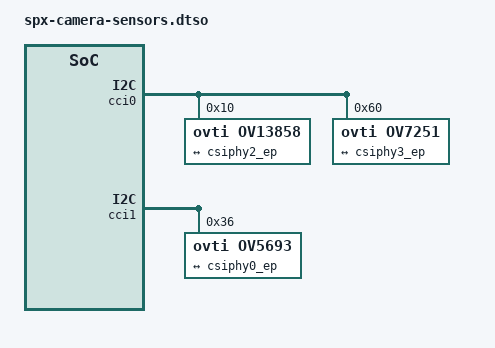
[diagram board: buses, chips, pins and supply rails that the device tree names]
// SPDX-License-Identifier: GPL-2.0
/*
 * Surface Pro X (sc8180x) camera: CCI buses + sensor nodes.
 * STAGED — NOT APPLIED. Companion to spx-camss.dtso.
 *
 * Everything below is reverse-engineered from the SPX DSDT and the Windows
 * camera drivers (2026-08-04); see memory/spx-camera-bringup.md.
 *
 * CCI addressing: ACPI CAMP._CRS lists 0x0ac4a000/b000/c000/d000 (0x1000 each)
 * plus 4 interrupts GSIV 0x1ec/0x12f/0x2ab/0x2aa -> SPI 460/271/651/650.
 * That block layout is identical to sc8280xp.dtsi, and cci0's SPI 460 matches
 * sm8250 exactly. camcc-sc8180x provides CAM_CC_CCI_0..3_CLK.
 *
 * Sensor placement comes from the ACPI CAMP.PCFG method, which returns
 * {0x07, 0x00200000, 0x00010010, 0x01300011, 0,...}: element 0 is a presence
 * bitmask (all three present), elements 1..3 are one packed word per camera ID
 * (rear=0, front=1, aux=2). qccamplatform8180.sys decodes
 *   CCI master = (w >> 16) & 0xf      CSIPHY id = (w >> 20) & 0xf
 * and hands the result to each sensor driver over IOCTL 0x232083, where they
 * surface as the logged "I2cMasterIndex" and "PhyId"/"CamIfPort".
 *
 *   rear  OV13858 @0x10  CCI0 port0  CSIPHY2
 *   front OV5693  @0x36  CCI1 port0  CSIPHY0
 *   aux   OV7251  @0x60  CCI0 port1  CSIPHY3
 *
 * I2C addresses and chip IDs cross-check against ACPI CAMS/CAMF/CAMI SCFG and
 * against the Chromatix sensor-module blobs. Bus speed is 400 kHz, from
 * SCFG acpiMethodValues[0] bits[17:16] == 1.
 *
 * !!! OPEN — the one thing the RE could not recover !!!
 * The sensor supply rails and reset/standby lines are NOT visible to the OS.
 * CAMP._CRS carries the only two camera GPIOs in the whole DSDT (TLMM 11 and
 * 25) and those are the privacy/IR LEDs, not sensor power. The Chromatix blobs
 * give the *shape* of the sequence but only abstract types:
 *
 *   rear  : RESET=0 d1, REG1 d1, REG2 d1, REG3 d1, MCLK 24MHz d10, RESET=1 d30
 *           (power-down also drops a REG4 = the AF/VCM rail)
 *   front : REG3, REG1, REG2, MCLK 24MHz d1, STANDBY=0, RESET=0, STANDBY=1, RESET=1
 *   aux   : RESET=0 d1, REG1 d1, REG2 d1, REG3 d0, MCLK 24MHz d1, RESET=1 d18
 *
 * Windows executes these through the PEP/firmware power engine (CAMP._PS0/_PS3
 * -> \_SB.PEP0.FLD0), so no APPS-side rail or pin mapping exists to extract.
 * The *-supply and reset-gpios properties below are therefore deliberately
 * absent: they need a schematic, a board teardown, or PMIC probing. Sensor
 * probe WILL fail until they are filled in.
 *
 * Also NOT reverse-engineered, and assumed here — fix before trusting:
 *  - the MCLK index per sensor (MCLK0/1/3 below is a guess; only the 24 MHz
 *    rate is RE-derived). The Windows blob does not name an MCLK instance.
 *  - data-lanes. laneAssign/isComboMode decode to 0 in all three blobs, so the
 *    lane counts below are datasheet-typical values (OV13858 4, OV5693 2,
 *    OV7251 1), not measurements.
 */

/dts-v1/;
/plugin/;

#include <dt-bindings/clock/qcom,sc8180x-camcc.h>
#include <dt-bindings/interrupt-controller/arm-gic.h>

&{/soc@0} {
	cci0: cci@ac4a000 {
		compatible = "qcom,sc8180x-cci", "qcom,msm8996-cci";
		#address-cells = <1>;
		#size-cells = <0>;

		reg = <0 0x0ac4a000 0 0x1000>;
		interrupts = <GIC_SPI 460 IRQ_TYPE_EDGE_RISING>;
		power-domains = <&camcc TITAN_TOP_GDSC>;

		clocks = <&camcc CAM_CC_CAMNOC_AXI_CLK>,
			 <&camcc CAM_CC_SLOW_AHB_CLK_SRC>,
			 <&camcc CAM_CC_CPAS_AHB_CLK>,
			 <&camcc CAM_CC_CCI_0_CLK>,
			 <&camcc CAM_CC_CCI_0_CLK_SRC>;
		clock-names = "camnoc_axi", "slow_ahb_src", "cpas_ahb",
			      "cci", "cci_src";
		status = "okay";

		/* rear camera */
		cci0_i2c0: i2c-bus@0 {
			reg = <0>;
			clock-frequency = <400000>;
			#address-cells = <1>;
			#size-cells = <0>;

			ov13858: camera@10 {
				compatible = "ovti,ov13858";
				reg = <0x10>;
				clocks = <&camcc CAM_CC_MCLK0_CLK>;
				assigned-clocks = <&camcc CAM_CC_MCLK0_CLK>;
				assigned-clock-rates = <24000000>;
				/* TODO: *-supply, reset-gpios (see header) */

				port {
					ov13858_ep: endpoint {
						data-lanes = <1 2 3 4>;
						remote-endpoint = <&csiphy2_ep>;
					};
				};
			};
		};

		/* IR / Windows Hello camera */
		cci0_i2c1: i2c-bus@1 {
			reg = <1>;
			clock-frequency = <400000>;
			#address-cells = <1>;
			#size-cells = <0>;

			ov7251: camera@60 {
				compatible = "ovti,ov7251";
				reg = <0x60>;
				clocks = <&camcc CAM_CC_MCLK3_CLK>;
				assigned-clocks = <&camcc CAM_CC_MCLK3_CLK>;
				assigned-clock-rates = <24000000>;
				/* TODO: *-supply, enable-gpios (see header) */

				port {
					ov7251_ep: endpoint {
						data-lanes = <1>;
						remote-endpoint = <&csiphy3_ep>;
					};
				};
			};
		};
	};

	cci1: cci@ac4b000 {
		compatible = "qcom,sc8180x-cci", "qcom,msm8996-cci";
		#address-cells = <1>;
		#size-cells = <0>;

		reg = <0 0x0ac4b000 0 0x1000>;
		interrupts = <GIC_SPI 271 IRQ_TYPE_EDGE_RISING>;
		power-domains = <&camcc TITAN_TOP_GDSC>;

		clocks = <&camcc CAM_CC_CAMNOC_AXI_CLK>,
			 <&camcc CAM_CC_SLOW_AHB_CLK_SRC>,
			 <&camcc CAM_CC_CPAS_AHB_CLK>,
			 <&camcc CAM_CC_CCI_1_CLK>,
			 <&camcc CAM_CC_CCI_1_CLK_SRC>;
		clock-names = "camnoc_axi", "slow_ahb_src", "cpas_ahb",
			      "cci", "cci_src";
		status = "okay";

		/* front camera */
		cci1_i2c0: i2c-bus@0 {
			reg = <0>;
			clock-frequency = <400000>;
			#address-cells = <1>;
			#size-cells = <0>;

			ov5693: camera@36 {
				compatible = "ovti,ov5693";
				reg = <0x36>;
				clocks = <&camcc CAM_CC_MCLK1_CLK>;
				assigned-clocks = <&camcc CAM_CC_MCLK1_CLK>;
				assigned-clock-rates = <24000000>;
				/* TODO: *-supply, reset-gpios (see header) */

				port {
					ov5693_ep: endpoint {
						data-lanes = <1 2>;
						remote-endpoint = <&csiphy0_ep>;
					};
				};
			};
		};
	};
};
